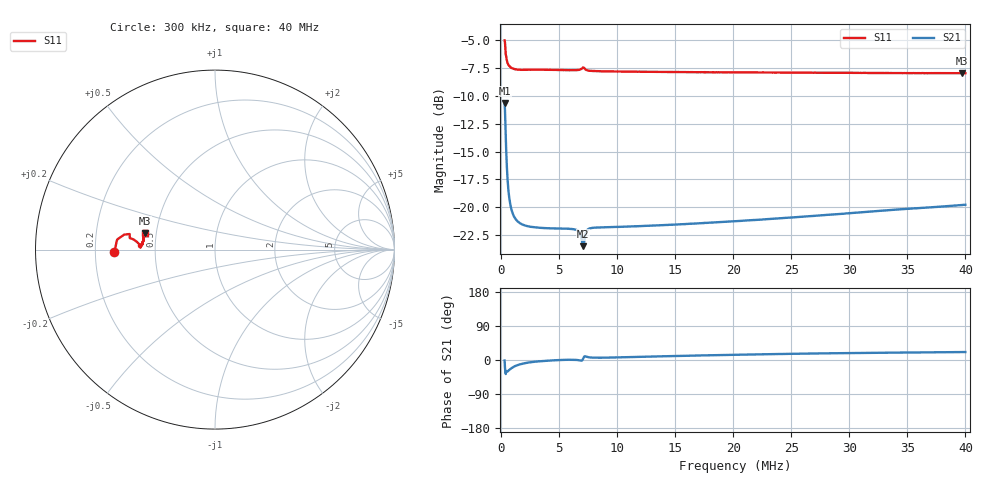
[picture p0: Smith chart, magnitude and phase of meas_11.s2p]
# HZ S RI R 50
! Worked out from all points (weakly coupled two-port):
!   1206 points, 300 kHz to 40 MHz, reference 50 ohm
!   highest |S21| = -10.64 dB at 300 kHz (marker M1); lowest = -23.5 dB at 7.054 MHz (marker M2)
!   lowest |S11| = -8.0 dB at 39.74 MHz (marker M3), VSWR 2.33, Z = 21.7 + j4.75 ohm
!   |S11| at or under -10 dB: nowhere
!   S12 and S22 are empty: the file has one direction only
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300000  -0.5609 -0.013  0.2939 -0.00613  0 0  0 0
398838  -0.4756 0.0868  0.1623 -0.1225  0 0  0 0
530622  -0.4451 0.0506  0.1204 -0.0711  0 0  0 0
596514  -0.4369 0.0446  0.1087 -0.0613  0 0  0 0
695352  -0.4298 0.0382  0.0992 -0.049  0 0  0 0
893028  -0.4214 0.0294  0.0907 -0.0358  0 0  0 0
1222488  -0.4157 0.0212  0.0855 -0.0242  0 0  0 0
1683732  -0.4138 0.0152  0.0828 -0.016  0 0  0 0
2441490  -0.4142 0.0122  0.0813 -0.00908  0 0  0 0
6395010  -0.4122 0.0179  0.0793 0.00055  0 0  0 0
6691524  -0.4133 0.0166  0.0777 -0.000689  0 0  0 0
6922146  -0.4179 0.0134  0.0727 -0.00215  0 0  0 0
7053930  -0.4234 0.0189  0.0667 0.00325  0 0  0 0
7185714  -0.419 0.0283  0.0708 0.0118  0 0  0 0
7449282  -0.4105 0.027  0.0786 0.0108  0 0  0 0
7778742  -0.4085 0.0252  0.0801 0.00905  0 0  0 0
1.354429e7  -0.4037 0.0339  0.0817 0.0136  0 0  0 0
2.016644e7  -0.4005 0.0482  0.084 0.0205  0 0  0 0
2.678858e7  -0.3968 0.0629  0.0872 0.0268  0 0  0 0
3.341073e7  -0.3929 0.0776  0.0915 0.0321  0 0  0 0
3.973636e7  -0.3886 0.092  0.0955 0.0366  0 0  0 0
3.999993e7  -0.3889 0.0925  0.0957 0.0367  0 0  0 0
